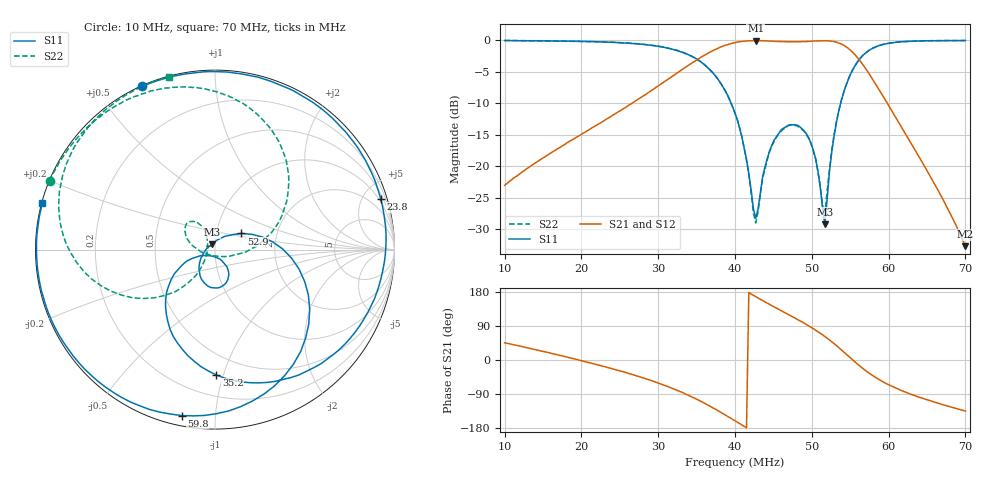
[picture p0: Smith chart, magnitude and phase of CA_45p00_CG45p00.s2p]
#  HZ  S  RI  R  50.00
! Rohde & Schwarz ZVT8 8Ports - Version 4.11 - 1300.0000k08 SN: 100242
! Date: 2026-07-31 14:57:06
! Measurements: S11 S21 S12 S22
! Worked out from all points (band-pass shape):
!   201 points, 10 MHz to 70 MHz, reference 50 ohm
!   highest |S21| = -0.04 dB at 42.7 MHz (marker M1); lowest = -32.7 dB at 70 MHz (marker M2)
!   |S21| within 3 dB of the highest: 35.12 MHz to 56.14 MHz (21.02 MHz wide, 46.1 % of centre)
!   lowest |S11| = -29.2 dB at 51.7 MHz (marker M3), VSWR 1.07, Z = 48.1 + j2.83 ohm
!   |S11| at or under -10 dB: 39.49 MHz to 53.76 MHz (14.26 MHz wide, 30.6 % of centre)
!   |S22| runs from -29.0 to 0.0 dB; largest |S21 - S12| = 0.0032
!   S11 on the Smith chart (normalised r, x): 10 MHz: 0.00, +0.65; 23.8 MHz: 0.79, +6.58; 35.2 MHz: 0.35, -0.95; 52.9 MHz: 1.32, +0.24; 59.8 MHz: 0.05, -0.82; 70 MHz: 0.00, +0.13
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1e7  -0.4093 0.9088  0.0495 0.0504  0.0492 0.0504  -0.9205 0.3821
1.51e7  0.1766 0.9732  0.1089 0.0442  0.1085 0.0443  -0.8093 0.5687
2.02e7  0.7058 0.6791  0.1824 -0.00845  0.1818 -0.00849  -0.645 0.7369
2.38e7  0.923 0.283  0.23 -0.0918  0.2299 -0.0916  -0.4791 0.8397
3.01e7  0.7269 -0.5232  0.2101 -0.3852  0.2109 -0.3848  -0.0522 0.8946
3.52e7  0.00709 -0.6985  -0.1871 -0.6847  -0.1856 -0.6849  0.3559 0.6013
3.76e7  -0.2505 -0.4434  -0.5671 -0.6403  -0.5679 -0.6403  0.4053 0.306
4e7  -0.2269 -0.1351  -0.9045 -0.3211  -0.9035 -0.3198  0.2605 0.0429
4.27e7  -0.0109 -0.0371  -0.9699 0.2228  -0.9688 0.2226  -0.00712 -0.0348
4.42e7  0.066 -0.0943  -0.8561 0.4956  -0.8551 0.4945  -0.1118 0.0118
4.57e7  0.0713 -0.1678  -0.6744 0.7106  -0.6742 0.7089  -0.1633 0.0815
4.81e7  -0.0251 -0.2105  -0.2916 0.9288  -0.2911 0.9268  -0.1389 0.156
5.02e7  -0.0893 -0.1008  0.1265 0.9772  0.1257 0.9774  -0.0631 0.1154
5.17e7  -0.0183 0.0294  0.4642 0.8764  0.4647 0.8774  -0.0415 -0.00359
5.29e7  0.1476 0.0899  0.7126 0.6691  0.7125 0.6679  -0.1062 -0.1435
5.44e7  0.4264 -0.0475  0.8568 0.2578  0.8564 0.258  -0.3361 -0.2684
5.59e7  0.5225 -0.4146  0.7234 -0.128  0.7239 -0.1272  -0.6368 -0.2
5.77e7  0.2731 -0.8048  0.4062 -0.3164  0.4043 -0.3159  -0.8458 0.0808
5.98e7  -0.1866 -0.9246  0.1434 -0.2851  0.1432 -0.2839  -0.8503 0.4075
6.01e7  -0.2474 -0.9162  0.1201 -0.2713  0.1193 -0.2705  -0.8388 0.4448
6.46e7  -0.8694 -0.4758  -0.022 -0.0996  -0.022 -0.0994  -0.5773 0.804
7e7  -0.962 0.2596  -0.0163 -0.0165  -0.0163 -0.0165  -0.2556 0.9632
